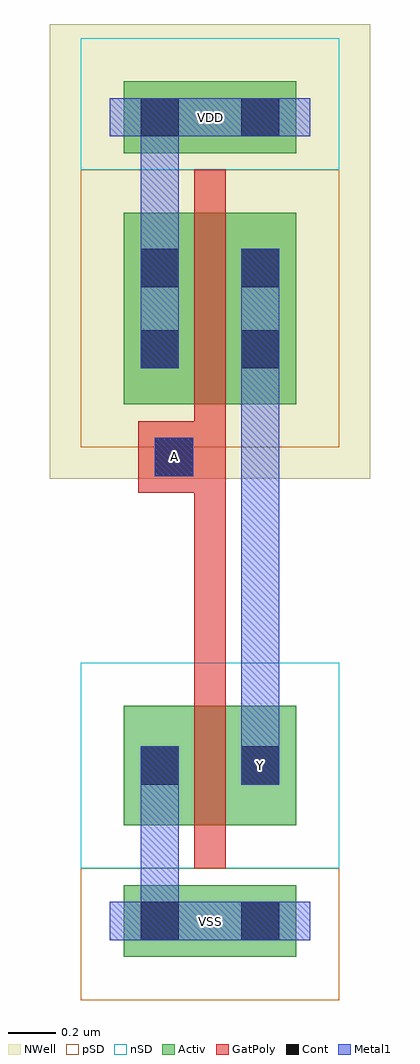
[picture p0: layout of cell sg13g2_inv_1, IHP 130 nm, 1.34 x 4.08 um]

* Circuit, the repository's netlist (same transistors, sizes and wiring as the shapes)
* sg13g2_inv_1 -- generated by design/gen_netlists.py from example_config.json; do not edit.
* family inv, drive 1, L=130n, supply 1.20 V.
* Y = !A
.subckt sg13g2_inv_1 A Y VDD VSS
XMN0 Y A VSS VSS sg13_lv_nmos w=500n l=130n ng=1 m=1
XMP0 Y A VDD VDD sg13_lv_pmos w=800n l=130n ng=1 m=1
.ends sg13g2_inv_1

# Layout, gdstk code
import gdstk
lib = gdstk.Library(unit=1e-6, precision=1e-09)
def R(c, l, rs):  # rectangles x0, y0, x1, y1
    for r in rs: c.add(gdstk.rectangle(r[:2], r[2:], *l))
Activ = (1, 0)
GatPoly = (5, 0)
Cont = (6, 0)
nSD = (7, 0)
Metal1 = (8, 0)
pSD = (14, 0)
NWell = (31, 0)

sg13g2_inv_1 = lib.new_cell('sg13g2_inv_1')
R(sg13g2_inv_1, Activ, [(0.06,-0.15,0.78,0.15), (0.06,0.4,0.78,0.9), (0.06,2.16,0.78,2.96), (0.06,3.21,0.78,3.51)])
R(sg13g2_inv_1, GatPoly, [(0.355,0.22,0.485,3.14), (0.12,1.79,0.485,2.09)])
R(sg13g2_inv_1, Cont, [(0.13,-0.08,0.29,0.08), (0.55,-0.08,0.71,0.08), (0.13,0.57,0.29,0.73), (0.55,0.57,0.71,0.73), (0.19,1.86,0.35,2.02), (0.13,2.31,0.29,2.47), (0.55,2.31,0.71,2.47), (0.13,2.65,0.29,2.81), (0.55,2.65,0.71,2.81), (0.13,3.28,0.29,3.44), (0.55,3.28,0.71,3.44)])
R(sg13g2_inv_1, nSD, [(-0.12,0.22,0.96,1.08), (-0.12,3.14,0.96,3.69)])
R(sg13g2_inv_1, Metal1, [(0,-0.08,0.84,0.08), (0.13,-0.08,0.29,0.73), (0.13,-0.08,0.71,0.08), (0.55,0.57,0.71,1.17), (0.55,1.01,0.71,1.17), (0.55,1.01,0.71,2.81), (0.19,1.86,0.35,2.02), (0.13,2.31,0.29,3.44), (0,3.28,0.84,3.44), (0.13,3.28,0.71,3.44)])
R(sg13g2_inv_1, pSD, [(-0.12,-0.33,0.96,0.22), (-0.12,1.98,0.96,3.14)])
R(sg13g2_inv_1, NWell, [(-0.25,1.85,1.09,3.75)])
sg13g2_inv_1.add(gdstk.Label('A', (0.27,1.94), layer=8, texttype=25))
sg13g2_inv_1.add(gdstk.Label('VSS', (0.42,0), layer=8, texttype=25))
sg13g2_inv_1.add(gdstk.Label('VDD', (0.42,3.36), layer=8, texttype=25))
sg13g2_inv_1.add(gdstk.Label('Y', (0.63,0.65), layer=8, texttype=25))

lib.write_gds('sg13g2_inv_1.gds')
